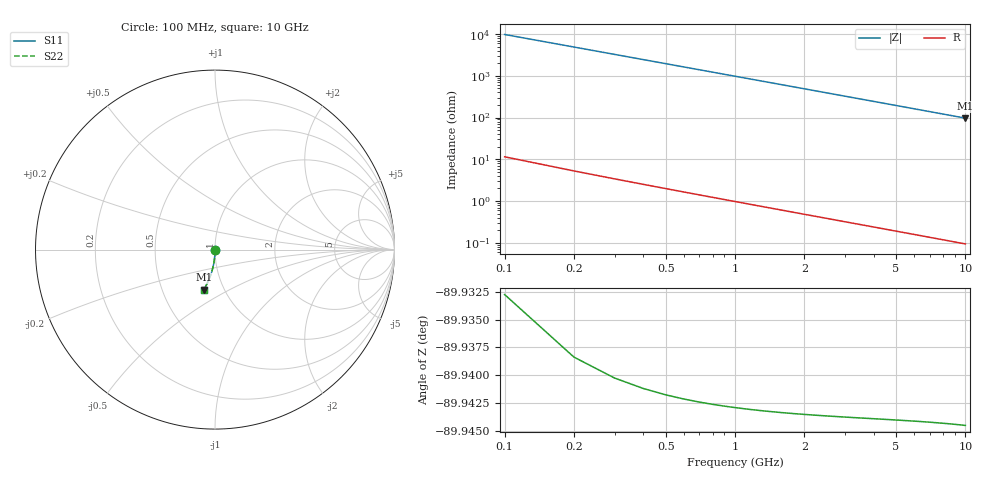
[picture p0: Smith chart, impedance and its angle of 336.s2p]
# Hz S RI R 50.00
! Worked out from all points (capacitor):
!   100 points, 100 MHz to 10 GHz, reference 50 ohm
!   read as one part in shunt: C = 162 fF near 100 MHz
!   lowest |Z| = 97 ohm at 10 GHz (marker M1)
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1e8  4.59e-05 -0.00236  0.9999 -0.00274  0.9999 -0.00274  4.59e-05 -0.00236
2e8  2.43e-05 -0.00473  0.9999 -0.00548  0.9999 -0.00548  2.43e-05 -0.00473
3e8  -1.03e-05 -0.00709  0.9999 -0.00822  0.9999 -0.00822  -1.03e-05 -0.00709
4e8  -5.79e-05 -0.00945  0.9998 -0.011  0.9998 -0.011  -5.79e-05 -0.00945
5e8  -0.000119 -0.0118  0.9998 -0.0137  0.9998 -0.0137  -0.000119 -0.0118
6e8  -0.000192 -0.0142  0.9997 -0.0164  0.9997 -0.0164  -0.000192 -0.0142
7e8  -0.000279 -0.0165  0.9996 -0.0192  0.9996 -0.0192  -0.000279 -0.0165
8e8  -0.000378 -0.0189  0.9995 -0.0219  0.9995 -0.0219  -0.000378 -0.0189
9e8  -0.000491 -0.0213  0.9994 -0.0247  0.9994 -0.0247  -0.000491 -0.0213
1.1e9  -0.000755 -0.026  0.9991 -0.0302  0.9991 -0.0302  -0.000755 -0.026
1.4e9  -0.00125 -0.0331  0.9986 -0.0384  0.9986 -0.0384  -0.00125 -0.0331
1.8e9  -0.00209 -0.0425  0.9978 -0.0493  0.9978 -0.0493  -0.00209 -0.0425
2.1e9  -0.00285 -0.0496  0.997 -0.0575  0.997 -0.0575  -0.00285 -0.0496
2.5e9  -0.00405 -0.0589  0.9958 -0.0684  0.9958 -0.0684  -0.00405 -0.0589
2.9e9  -0.00546 -0.0683  0.9944 -0.0793  0.9944 -0.0793  -0.00546 -0.0683
3.4e9  -0.00751 -0.08  0.9923 -0.0929  0.9923 -0.0929  -0.00751 -0.08
4.2e9  -0.0114 -0.0985  0.9883 -0.1145  0.9883 -0.1145  -0.0114 -0.0985
5.1e9  -0.0168 -0.119  0.9828 -0.1385  0.9828 -0.1385  -0.0168 -0.119
5.9e9  -0.0225 -0.137  0.9772 -0.1596  0.9772 -0.1596  -0.0225 -0.137
6.7e9  -0.0288 -0.1547  0.9707 -0.1803  0.9707 -0.1803  -0.0288 -0.1547
8.4e9  -0.0448 -0.191  0.9545 -0.2233  0.9545 -0.2233  -0.0448 -0.191
1e10  -0.0626 -0.2233  0.9365 -0.2618  0.9365 -0.2618  -0.0626 -0.2233
